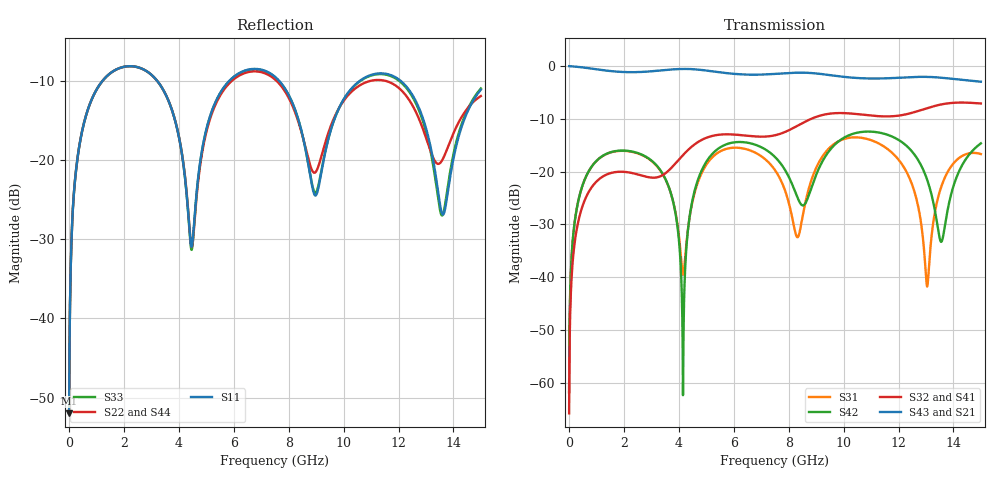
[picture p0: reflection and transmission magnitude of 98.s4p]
! Created with skrf 1.8.0 (http://scikit-rf.org).
# GHz S RI R 50.0
!freq ReS11 ImS11 ReS12 ImS12 ReS13 ImS13
! ReS14 ImS14
! ReS21 ImS21 ReS22 ImS22 ReS23 ImS23
! ReS24 ImS24
! ReS31 ImS31 ReS32 ImS32 ReS33 ImS33
! ReS34 ImS34
! ReS41 ImS41 ReS42 ImS42 ReS43 ImS43
! ReS44 ImS44
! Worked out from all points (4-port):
!   2499 points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, 5 MHz to 15 GHz, reference 50 ohm
!   strongest paths, dB at 5 MHz, 3.476 GHz, 7.19 GHz, 11.1 GHz, 15 GHz:
!     S43: 0.0, -0.8, -1.6, -2.4, -3.0
!     S21: 0.0, -0.8, -1.6, -2.4, -2.9
!     S32: -65.8, -20.5, -13.4, -9.4, -7.1
!     S41: -65.8, -20.5, -13.4, -9.4, -7.1
!     S42: -61.9, -21.0, -15.9, -12.5, -14.6
!     S31: -61.9, -21.1, -17.9, -14.2, -16.7
!   lowest |S11| = -52.0 dB at 5 MHz (marker M1), VSWR 1.01, Z = 50.2 + j0.153 ohm
!   |S11| at or under -10 dB: 3.216 GHz to 5.833 GHz (2.617 GHz wide, 57.8 % of centre); 7.658 GHz to 10.58 GHz (2.927 GHz wide, 32.1 % of centre); 12.08 GHz to end of sweep (the widest 3 of 4)
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0.005  0.002 0.00152  0.998 -0.0039  0.000102 0.000801  -9.9e-05 -0.000502
       0.998 -0.0039  0.002 0.00152  -9.9e-05 -0.000502  0.000102 0.000801
       0.000102 0.000801  -9.9e-05 -0.000502  0.002 0.00152  0.998 -0.0039
       -9.9e-05 -0.000502  0.000102 0.000801  0.998 -0.0039  0.002 0.00152
1.3193  0.283 0.1721  0.522 -0.7437  0.1321 0.0593  -0.0924 -0.00169
        0.522 -0.7437  0.2823 0.1726  -0.0924 -0.00168  0.1338 0.057
        0.1321 0.0593  -0.0924 -0.00168  0.283 0.1721  0.522 -0.7437
        -0.0924 -0.00169  0.1338 0.057  0.522 -0.7437  0.2823 0.1726
4.15173  0.0463 -0.0866  -0.895 -0.2857  -0.0103 -0.00199  -0.0393 0.1379
         -0.895 -0.2857  0.0474 -0.0876  -0.0393 0.1379  -0.00073 -0.000207
         -0.0103 -0.00199  -0.0393 0.1379  0.0455 -0.0872  -0.8949 -0.2859
         -0.0393 0.1379  -0.00073 -0.000207  -0.8949 -0.2859  0.0485 -0.0877
5.233431  0.1424 0.156  -0.7885 0.4143  0.0974 0.0975  0.1305 0.1746
          -0.7885 0.4143  0.1347 0.1524  0.1307 0.1748  0.123 0.0831
          0.0974 0.0975  0.1307 0.1748  0.1402 0.1562  -0.7889 0.4141
          0.1305 0.1746  0.123 0.0831  -0.7889 0.4141  0.1359 0.1508
8.991246  0.0599 -0.00129  0.844 0.1144  0.00547 0.1067  0.0356 -0.3276
          0.844 0.1144  0.0842 0.0066  0.0341 -0.3274  -0.00359 0.0917
          0.00547 0.1067  0.0341 -0.3274  0.0625 -0.00041  0.8441 0.1142
          0.0356 -0.3276  -0.00359 0.0917  0.8441 0.1142  0.0812 0.00678
13.04293  0.0905 -0.1193  -0.6633 -0.4266  -0.00814 -9.21e-05  -0.2065 0.3414
          -0.6633 -0.4266  0.1149 -0.0648  -0.2048 0.3428  -0.0517 -0.066
          -0.00814 -9.21e-05  -0.2048 0.3428  0.087 -0.1123  -0.6657 -0.4249
          -0.2065 0.3414  -0.0517 -0.066  -0.6657 -0.4249  0.1094 -0.0595
15  0.232 0.1546  -0.4959 0.5125  0.1451 -0.0209  0.3438 0.2779
    -0.4959 0.5125  0.2351 0.0964  0.3452 0.2761  0.1543 -0.1025
    0.1451 -0.0209  0.3452 0.2761  0.2356 0.1582  -0.4937 0.5124
    0.3438 0.2779  0.1543 -0.1025  -0.4937 0.5124  0.2391 0.0994
